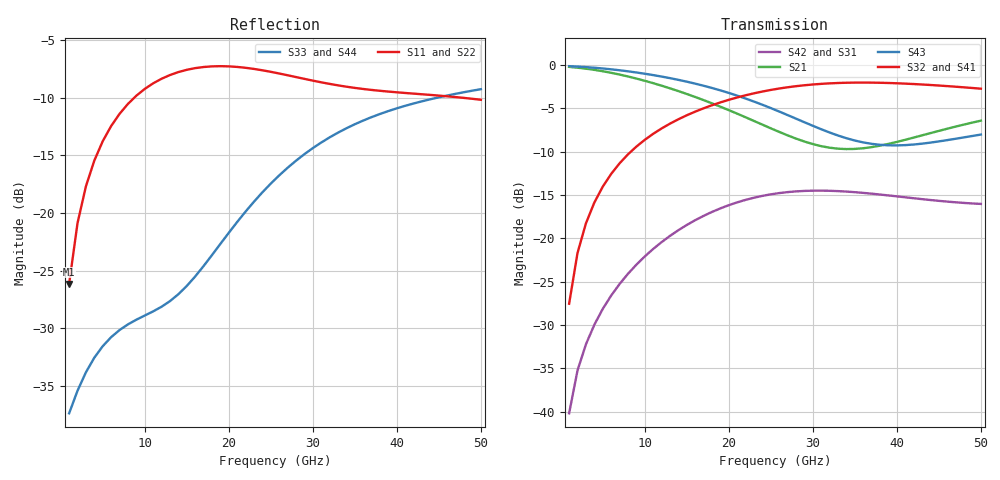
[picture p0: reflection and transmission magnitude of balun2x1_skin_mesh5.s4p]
! Created with skrf 2.1.0 (http://scikit-rf.org).
# GHz S DB R 50.0
! Port[1] = P1
! Port[2] = P2
! Port[3] = P3
! Port[4] = P4
!freq dBS11 angS11 dBS12 angS12 dBS13 angS13
! dBS14 angS14
! dBS21 angS21 dBS22 angS22 dBS23 angS23
! dBS24 angS24
! dBS31 angS31 dBS32 angS32 dBS33 angS33
! dBS34 angS34
! dBS41 angS41 dBS42 angS42 dBS43 angS43
! dBS44 angS44
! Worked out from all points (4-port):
!   50 points, 1 GHz to 50 GHz, reference 50 ohm
!   strongest paths, dB at 1 GHz, 13 GHz, 26 GHz, 38 GHz, 50 GHz:
!     S32: -27.5, -6.8, -2.7, -2.0, -2.7
!     S41: -27.5, -6.8, -2.7, -2.1, -2.8
!     S43: -0.1, -1.5, -5.4, -9.2, -8.0
!     S21: -0.2, -2.7, -7.7, -9.3, -6.4
!     S42: -40.2, -19.7, -14.8, -14.9, -16.0
!     S31: -40.2, -19.8, -15.0, -15.2, -16.1
!   lowest |S11| = -26.1 dB at 1 GHz (marker M1), VSWR 1.10, Z = 52.2 + j4.53 ohm
!   |S11| at or under -10 dB: start of sweep to 8.745 GHz; 47.86 GHz to end of sweep
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1  -26.15 61.6  -0.21 -5.4  -40.19 -111.4  -27.54 84.6
   -0.21 -5.4  -26.15 61.5  -27.54 84.6  -40.18 -111.5
   -40.19 -111.4  -27.54 84.6  -37.37 17.8  -0.12 -2.7
   -27.54 84.6  -40.18 -111.5  -0.12 -2.7  -37.37 17.7
4  -15.44 60.2  -0.55 -20.3  -29.99 -140.5  -15.86 73.4
   -0.55 -20.3  -15.45 59.9  -15.87 73.4  -29.97 -141.0
   -29.99 -140.5  -15.87 73.4  -32.55 18.0  -0.31 -10.2
   -15.86 73.4  -29.97 -141.0  -0.31 -10.2  -32.52 17.8
9  -9.82 39.0  -1.55 -43.8  -23.11 175.6  -9.41 55.6
   -1.55 -43.8  -9.83 38.5  -9.41 55.6  -23.04 174.7
   -23.11 175.6  -9.41 55.6  -29.25 -19.3  -0.85 -21.8
   -9.41 55.6  -23.04 174.7  -0.85 -21.8  -29.17 -20.0
17  -7.33 8.0  -4.04 -81.0  -17.55 116.2  -5.00 30.1
    -4.04 -81.0  -7.38 6.9  -4.99 30.1  -17.40 114.8
    -17.55 116.2  -4.99 30.1  -24.60 -112.0  -2.38 -38.4
    -5.00 30.1  -17.40 114.8  -2.38 -38.4  -24.35 -112.6
27  -8.04 -18.2  -8.11 -139.4  -14.88 58.4  -2.58 -0.0
    -8.11 -139.4  -8.23 -19.9  -2.56 -0.2  -14.66 56.5
    -14.88 58.4  -2.56 -0.2  -16.07 170.1  -5.77 -51.4
    -2.58 -0.0  -14.66 56.5  -5.77 -51.4  -15.84 169.9
39  -9.46 -31.9  -9.09 130.6  -15.28 12.8  -2.10 -32.6
    -9.09 130.6  -9.84 -33.0  -2.07 -32.9  -15.04 9.5
    -15.28 12.8  -2.07 -32.9  -11.15 118.3  -9.26 -37.4
    -2.10 -32.6  -15.04 9.5  -9.26 -37.4  -10.95 117.8
50  -10.17 -45.4  -6.41 79.8  -16.13 -8.3  -2.76 -56.1
    -6.41 79.8  -10.56 -46.0  -2.72 -56.6  -16.02 -12.7
    -16.13 -8.3  -2.72 -56.6  -9.25 89.7  -8.02 -26.5
    -2.76 -56.1  -16.02 -12.7  -8.02 -26.5  -9.08 88.9
